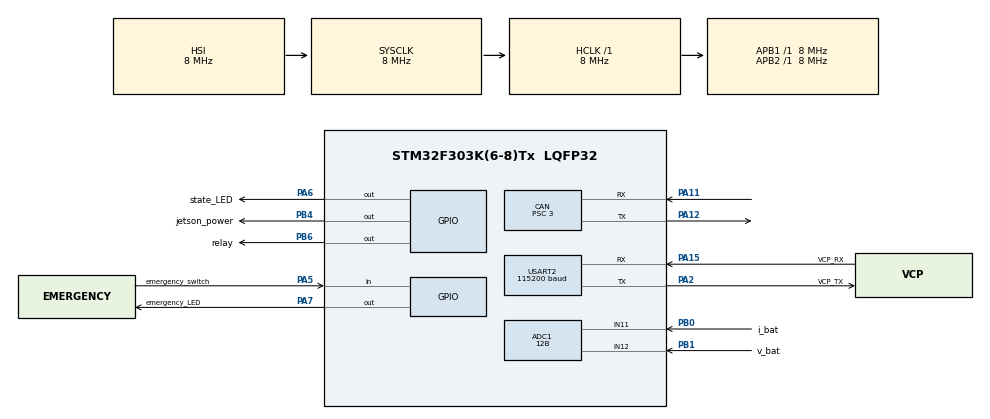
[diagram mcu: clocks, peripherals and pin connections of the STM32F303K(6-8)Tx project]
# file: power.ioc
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ADC1.Channel-1\#ChannelRegularConversion=ADC_CHANNEL_11
ADC1.Channel-2\#ChannelRegularConversion=ADC_CHANNEL_12
ADC1.ClockPrescaler=ADC_CLOCK_SYNC_PCLK_DIV4
ADC1.ContinuousConvMode=ENABLE
ADC1.DMAContinuousRequests=ENABLE
ADC1.EnableInjectedConversion=DISABLE
ADC1.NbrOfConversion=2
ADC1.NbrOfConversionFlag=1
ADC1.Offset-1\#ChannelRegularConversion=0
ADC1.Offset-2\#ChannelRegularConversion=0
ADC1.OffsetNumber-1\#ChannelRegularConversion=ADC_OFFSET_NONE
ADC1.OffsetNumber-2\#ChannelRegularConversion=ADC_OFFSET_NONE
ADC1.Rank-1\#ChannelRegularConversion=1
ADC1.Rank-2\#ChannelRegularConversion=2
ADC1.Resolution=ADC_RESOLUTION_12B
ADC1.SamplingTime-1\#ChannelRegularConversion=ADC_SAMPLETIME_601CYCLES_5
ADC1.SamplingTime-2\#ChannelRegularConversion=ADC_SAMPLETIME_601CYCLES_5
ADC1.SamplingTimeOPAMP-2\#ChannelRegularConversion=ADC_SAMPLETIME_1CYCLE_5
ADC1.SubFamily=STM32F303x8
ADC1.master=1
CAN.BS1=CAN_BS1_15TQ
CAN.BS2=CAN_BS2_4TQ
CAN.CalculateBaudRate=133333
CAN.CalculateTimeBit=7500
CAN.CalculateTimeQuantum=375.0
CAN.Prescaler=3
Dma.ADC1.0.Direction=DMA_PERIPH_TO_MEMORY
Dma.ADC1.0.Instance=DMA1_Channel1
Dma.ADC1.0.MemDataAlignment=DMA_MDATAALIGN_HALFWORD
Dma.ADC1.0.MemInc=DMA_MINC_ENABLE
Dma.ADC1.0.Mode=DMA_CIRCULAR
Dma.ADC1.0.PeriphDataAlignment=DMA_PDATAALIGN_HALFWORD
Dma.ADC1.0.PeriphInc=DMA_PINC_DISABLE
Dma.ADC1.0.Priority=DMA_PRIORITY_LOW
Dma.Request0=ADC1
Mcu.Family=STM32F3
Mcu.Name=STM32F303K(6-8)Tx
Mcu.Package=LQFP32
NVIC.CAN_RX0_IRQn=true\:0\:0\:false\:false\:true\:true\:true\:true
NVIC.DMA1_Channel1_IRQn=true\:0\:0\:false\:false\:true\:false\:true\:true
NVIC.PriorityGroup=NVIC_PRIORITYGROUP_4
NVIC.TIM6_DAC1_IRQn=true\:0\:0\:false\:false\:true\:true\:true\:true
NVIC.TIM7_DAC2_IRQn=true\:0\:0\:false\:false\:true\:true\:true\:true
PA11.Mode=CAN_Activate
PA11.Signal=CAN_RX
PA12.Mode=CAN_Activate
PA12.Signal=CAN_TX
PA13.GPIO_Label=SWDIO
PA13.Mode=Serial_Wire
PA13.Signal=SYS_JTMS-SWDIO
PA14.GPIO_Label=SWCLK
PA14.Mode=Serial_Wire
PA14.Signal=SYS_JTCK-SWCLK
PA15.GPIO_Label=VCP_RX
PA15.Mode=Asynchronous
PA15.Signal=USART2_RX
PA2.GPIO_Label=VCP_TX
PA2.Mode=Asynchronous
PA2.Signal=USART2_TX
PA5.GPIO_Label=emergency_switch
PA5.GPIO_PuPd=GPIO_NOPULL
PA5.Signal=GPIO_Input
PA6.GPIO_Label=state_LED
PA6.Signal=GPIO_Output
PA7.GPIO_Label=emergency_LED
PA7.Signal=GPIO_Output
PB0.GPIO_Label=i_bat
PB0.Mode=IN11-Single-Ended
PB0.Signal=ADC1_IN11
PB1.GPIO_Label=v_bat
PB1.Mode=IN12-Single-Ended
PB1.Signal=ADC1_IN12
PB4.GPIO_Label=jetson_power
PB4.Signal=GPIO_Output
PB6.GPIO_Label=relay
PB6.Signal=GPIO_Output
PF0\ /\ OSC_IN.GPIO_Label=MCO
PF0\ /\ OSC_IN.Mode=HSE-External-Clock-Source
PF0\ /\ OSC_IN.Signal=RCC_OSC_IN
ProjectManager.HeapSize=0x200
ProjectManager.StackSize=0x400
ProjectManager.TargetToolchain=STM32CubeIDE
RCC.AHBFreq_Value=8000000
RCC.APB1Freq_Value=8000000
RCC.APB2Freq_Value=8000000
RCC.CortexFreq_Value=8000000
RCC.HSE_VALUE=8000000
RCC.HSI_VALUE=8000000
RCC.PLLMUL=RCC_PLL_MUL4
RCC.SYSCLKFreq_VALUE=8000000
TIM6.Period=7999
TIM6.Prescaler=19
TIM7.Period=7999
TIM7.Prescaler=19
USART2.BaudRate=115200
USART2.VirtualMode-Asynchronous=VM_ASYNC
VP_TIM6_VS_ClockSourceINT.Mode=Enable_Timer
VP_TIM7_VS_ClockSourceINT.Mode=Enable_Timer
board=NUCLEO-F303K8

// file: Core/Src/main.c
/* USER CODE BEGIN Header */
/**
  ******************************************************************************
  * @file           : main.c
  * @brief          : Main program body
  ******************************************************************************
  * @attention
  *
  * Copyright (c) 2024 STMicroelectronics.
  * All rights reserved.
  *
  * This software is licensed under terms that can be found in the LICENSE file
  * in the root directory of this software component.
  * If no LICENSE file comes with this software, it is provided AS-IS.
  *
  ******************************************************************************
  */
/* USER CODE END Header */
#include "main.h"

/* USER CODE BEGIN Includes */
#include <stdbool.h>
#include <can.h>
#include <stdio.h>
/* USER CODE END Includes */

ADC_HandleTypeDef hadc1;
DMA_HandleTypeDef hdma_adc1;

CAN_HandleTypeDef hcan;

TIM_HandleTypeDef htim6;
TIM_HandleTypeDef htim7;

UART_HandleTypeDef huart2;

void SystemClock_Config(void);
static void MX_GPIO_Init(void);
static void MX_DMA_Init(void);
static void MX_USART2_UART_Init(void);
static void MX_ADC1_Init(void);
static void MX_CAN_Init(void);
static void MX_TIM6_Init(void);
static void MX_TIM7_Init(void);

/* USER CODE BEGIN 0 */

enum state{
	state_wait, // CAN通信待ち、ADC、CAN送信のみ実行
	state_active, //通常状態
	state_shutdown //5V電源OFF状態、非常停止ON->OFFで解除
};

typedef struct{
	bool battery;
	bool emergency;
}Error;

bool isNoError(Error e){
	return (e.battery==false) && (e.emergency==false);
}

bool errorReleaseRequest(bool sw){
	static bool last_sw = false;
	bool request;
	request = (last_sw == true) && (sw == false);
	last_sw = sw;
	return request;
}

bool g_main_loop_flag = false;

bool batteryErrorCheck(uint16_t,uint16_t);

void HAL_TIM_PeriodElapsedCallback(TIM_HandleTypeDef *htim)
{
	if(htim == &htim6)
	{
		//mainloop
		if(g_main_loop_flag){
			printf("Control cycle is slow\r\n");
		}
		else{
			g_main_loop_flag = true;
		}
	}
	if(htim == &htim7){
		sendCanData();
	}

}

// バッテリーの電流、電圧、非常停止スイッチの状態を確認する　異常があればtrueを返す
bool batteryErrorCheck(uint16_t i_bat,uint16_t v_bat){
	static const uint16_t i_bat_th = 1000;
	static const uint16_t v_bat_high_th = 16.0f/0.0039f;
	static const uint16_t v_bat_low_th = 8.0f/0.0039f;
	static size_t nv;
	static size_t ni;
	if((v_bat > v_bat_high_th) || (v_bat < v_bat_low_th)) nv++;
	else nv=0;
	if(i_bat > i_bat_th)ni++;
	else ni=0;
	bool error = (nv > 10)	|| (ni > 2);
	if (nv > 10) printf("Vbat error \r\n");
	if (ni > 2) printf("Ibat error \r\n");
	return error;
}

/* USER CODE END 0 */

int main(void)
{

  /* USER CODE BEGIN 1 */
	setbuf(stdout, NULL);
  /* USER CODE END 1 */

  /* MCU Configuration--------------------------------------------------------*/

  /* Reset of all peripherals, Initializes the Flash interface and the Systick. */
  HAL_Init();

  /* Configure the system clock */
  SystemClock_Config();

  /* Initialize all configured peripherals */
  MX_GPIO_Init();
  MX_DMA_Init();
  MX_USART2_UART_Init();
  MX_ADC1_Init();
  MX_CAN_Init();
  MX_TIM6_Init();
  MX_TIM7_Init();
  /* USER CODE BEGIN 2 */
  enum state state = state_wait;
  Error error = {0};

  //GPIO初期設定
  HAL_GPIO_WritePin(relay_GPIO_Port, relay_Pin, false);
  HAL_GPIO_WritePin(jetson_power_GPIO_Port, jetson_power_Pin, false);

  //ADCスタート
  static uint16_t ADC_buff[2];
  HAL_ADCEx_Calibration_Start(&hadc1, ADC_SINGLE_ENDED);
  HAL_ADC_Start_DMA(&hadc1, (uint32_t *)ADC_buff, sizeof(ADC_buff) / sizeof(ADC_buff[0]));
  hdma_adc1.Instance->CCR &= ~(DMA_IT_TC | DMA_IT_HT);
  HAL_Delay(100);

  //エラーチェック後５Vオン&CANスタート
//	while (batteryErrorCheck(ADC_buff[0], ADC_buff[1]) == true
//			|| HAL_GPIO_ReadPin(emergency_switch_GPIO_Port,emergency_switch_Pin)) {
//		printf("start error! Ibat:%d,Vbat%d,SW,%d\r\n",ADC_buff[0], ADC_buff[1],HAL_GPIO_ReadPin(emergency_switch_GPIO_Port,emergency_switch_Pin));
//		HAL_Delay(1000);
//	}
  HAL_GPIO_WritePin(jetson_power_GPIO_Port, jetson_power_Pin, true);
  HAL_Delay(100);

  //CANスタート
  canInit(&hcan);
  size_t can_timeout_cnt = 0;
  // relayをONにしてからMDに電源が入るまでの猶予
  size_t motor_delay_cnt = 0;
  // エラー解除待機中
  bool wait_flag=false;

  //timerスタート
  HAL_TIM_Base_Start_IT(&htim6);
  HAL_TIM_Base_Start_IT(&htim7);

  /* USER CODE END 2 */

  /* Infinite loop */
  /* USER CODE BEGIN WHILE */

  while (1)
  {
		//mainloop wait
		while(g_main_loop_flag == false){}

		error.battery = batteryErrorCheck(ADC_buff[0], ADC_buff[1]);
		error.emergency = HAL_GPIO_ReadPin(emergency_switch_GPIO_Port,emergency_switch_Pin);

		//ADCデータ確認
		PowerResult result;
		result.i_bat = ADC_buff[0]>>4;
		result.v_bat = ADC_buff[1]>>4;
		result.emergency = error.emergency;
		result.motor_output = (motor_delay_cnt > 10);

		//CAN送信
		setCanData(&result);

		switch(state){
		case state_shutdown:
			static bool prev_emerg_sw = false;
			HAL_GPIO_WritePin(relay_GPIO_Port, relay_Pin, false);
			HAL_GPIO_WritePin(jetson_power_GPIO_Port, jetson_power_Pin, false);
			if(prev_emerg_sw == true && error.emergency == false){
				state = state_wait;
			}
			prev_emerg_sw = error.emergency;
			break;
		case state_wait:
			HAL_GPIO_WritePin(relay_GPIO_Port, relay_Pin, false);
			HAL_GPIO_WritePin(jetson_power_GPIO_Port, jetson_power_Pin, true);
			if(isCanUpdated()){
				can_timeout_cnt = 0;
				state = state_active;
			}
			printf("can reinit\r\n");
			canInit(&hcan);
			break;
		case state_active:
			if(error.battery==true){
				wait_flag = true;
			}
			//CANデータ確認
			CanCommand command;
			if(isCanUpdated()==false) can_timeout_cnt++;
			else can_timeout_cnt=0;
			getCanData(&command);
			// state set
			if (command.power_off == true && command.motor_output == false) {
				state = state_shutdown;
			} else if (can_timeout_cnt > 5) {
				state = state_wait;
			}

			HAL_GPIO_WritePin(jetson_power_GPIO_Port, jetson_power_Pin, true);
			if (isNoError(error) == true && command.motor_output == true
					&& wait_flag == false) {
				//printf("motor_on : \r\n");
				HAL_GPIO_WritePin(relay_GPIO_Port, relay_Pin, true);
				motor_delay_cnt++;
			} else {
				//printf("motor_off : \r\n");
				HAL_GPIO_WritePin(relay_GPIO_Port, relay_Pin, false);
				motor_delay_cnt = 0;
			}
			break;
		}

		printf("%d,%d,%d\r\n",state,ADC_buff[0],ADC_buff[1]);

		if(wait_flag==true && errorReleaseRequest(error.emergency))wait_flag = false;
    g_main_loop_flag = false;
    /* USER CODE END WHILE */

  }
}

void SystemClock_Config(void)
{
  RCC_OscInitTypeDef RCC_OscInitStruct = {0};
  RCC_ClkInitTypeDef RCC_ClkInitStruct = {0};

  /** Initializes the RCC Oscillators according to the specified parameters
  * in the RCC_OscInitTypeDef structure.
  */
  RCC_OscInitStruct.OscillatorType = RCC_OSCILLATORTYPE_HSI;
  RCC_OscInitStruct.HSIState = RCC_HSI_ON;
  RCC_OscInitStruct.HSICalibrationValue = RCC_HSICALIBRATION_DEFAULT;
  RCC_OscInitStruct.PLL.PLLState = RCC_PLL_NONE;
  if (HAL_RCC_OscConfig(&RCC_OscInitStruct) != HAL_OK)
  {
    Error_Handler();
  }

  /** Initializes the CPU, AHB and APB buses clocks
  */
  RCC_ClkInitStruct.ClockType = RCC_CLOCKTYPE_HCLK|RCC_CLOCKTYPE_SYSCLK
                              |RCC_CLOCKTYPE_PCLK1|RCC_CLOCKTYPE_PCLK2;
  RCC_ClkInitStruct.SYSCLKSource = RCC_SYSCLKSOURCE_HSI;
  RCC_ClkInitStruct.AHBCLKDivider = RCC_SYSCLK_DIV1;
  RCC_ClkInitStruct.APB1CLKDivider = RCC_HCLK_DIV1;
  RCC_ClkInitStruct.APB2CLKDivider = RCC_HCLK_DIV1;

  if (HAL_RCC_ClockConfig(&RCC_ClkInitStruct, FLASH_LATENCY_0) != HAL_OK)
  {
    Error_Handler();
  }
}

static void MX_ADC1_Init(void)
{

  ADC_MultiModeTypeDef multimode = {0};
  ADC_ChannelConfTypeDef sConfig = {0};

  /** Common config
  */
  hadc1.Instance = ADC1;
  hadc1.Init.ClockPrescaler = ADC_CLOCK_SYNC_PCLK_DIV4;
  hadc1.Init.Resolution = ADC_RESOLUTION_12B;
  hadc1.Init.ScanConvMode = ADC_SCAN_ENABLE;
  hadc1.Init.ContinuousConvMode = ENABLE;
  hadc1.Init.DiscontinuousConvMode = DISABLE;
  hadc1.Init.ExternalTrigConvEdge = ADC_EXTERNALTRIGCONVEDGE_NONE;
  hadc1.Init.ExternalTrigConv = ADC_SOFTWARE_START;
  hadc1.Init.DataAlign = ADC_DATAALIGN_RIGHT;
  hadc1.Init.NbrOfConversion = 2;
  hadc1.Init.DMAContinuousRequests = ENABLE;
  hadc1.Init.EOCSelection = ADC_EOC_SINGLE_CONV;
  hadc1.Init.LowPowerAutoWait = DISABLE;
  hadc1.Init.Overrun = ADC_OVR_DATA_OVERWRITTEN;
  if (HAL_ADC_Init(&hadc1) != HAL_OK)
  {
    Error_Handler();
  }

  /** Configure the ADC multi-mode
  */
  multimode.Mode = ADC_MODE_INDEPENDENT;
  if (HAL_ADCEx_MultiModeConfigChannel(&hadc1, &multimode) != HAL_OK)
  {
    Error_Handler();
  }

  /** Configure Regular Channel
  */
  sConfig.Channel = ADC_CHANNEL_11;
  sConfig.Rank = ADC_REGULAR_RANK_1;
  sConfig.SingleDiff = ADC_SINGLE_ENDED;
  sConfig.SamplingTime = ADC_SAMPLETIME_601CYCLES_5;
  sConfig.OffsetNumber = ADC_OFFSET_NONE;
  sConfig.Offset = 0;
  if (HAL_ADC_ConfigChannel(&hadc1, &sConfig) != HAL_OK)
  {
    Error_Handler();
  }

  /** Configure Regular Channel
  */
  sConfig.Channel = ADC_CHANNEL_12;
  sConfig.Rank = ADC_REGULAR_RANK_2;
  if (HAL_ADC_ConfigChannel(&hadc1, &sConfig) != HAL_OK)
  {
    Error_Handler();
  }

}

static void MX_CAN_Init(void)
{

  hcan.Instance = CAN;
  hcan.Init.Prescaler = 3;
  hcan.Init.Mode = CAN_MODE_NORMAL;
  hcan.Init.SyncJumpWidth = CAN_SJW_1TQ;
  hcan.Init.TimeSeg1 = CAN_BS1_15TQ;
  hcan.Init.TimeSeg2 = CAN_BS2_4TQ;
  hcan.Init.TimeTriggeredMode = DISABLE;
  hcan.Init.AutoBusOff = DISABLE;
  hcan.Init.AutoWakeUp = DISABLE;
  hcan.Init.AutoRetransmission = DISABLE;
  hcan.Init.ReceiveFifoLocked = DISABLE;
  hcan.Init.TransmitFifoPriority = DISABLE;
  if (HAL_CAN_Init(&hcan) != HAL_OK)
  {
    Error_Handler();
  }

}

static void MX_TIM6_Init(void)
{

  TIM_MasterConfigTypeDef sMasterConfig = {0};

  htim6.Instance = TIM6;
  htim6.Init.Prescaler = 19;
  htim6.Init.CounterMode = TIM_COUNTERMODE_UP;
  htim6.Init.Period = 7999;
  htim6.Init.AutoReloadPreload = TIM_AUTORELOAD_PRELOAD_DISABLE;
  if (HAL_TIM_Base_Init(&htim6) != HAL_OK)
  {
    Error_Handler();
  }
  sMasterConfig.MasterOutputTrigger = TIM_TRGO_RESET;
  sMasterConfig.MasterSlaveMode = TIM_MASTERSLAVEMODE_DISABLE;
  if (HAL_TIMEx_MasterConfigSynchronization(&htim6, &sMasterConfig) != HAL_OK)
  {
    Error_Handler();
  }

}

static void MX_TIM7_Init(void)
{

  TIM_MasterConfigTypeDef sMasterConfig = {0};

  htim7.Instance = TIM7;
  htim7.Init.Prescaler = 19;
  htim7.Init.CounterMode = TIM_COUNTERMODE_UP;
  htim7.Init.Period = 7999;
  htim7.Init.AutoReloadPreload = TIM_AUTORELOAD_PRELOAD_DISABLE;
  if (HAL_TIM_Base_Init(&htim7) != HAL_OK)
  {
    Error_Handler();
  }
  sMasterConfig.MasterOutputTrigger = TIM_TRGO_RESET;
  sMasterConfig.MasterSlaveMode = TIM_MASTERSLAVEMODE_DISABLE;
  if (HAL_TIMEx_MasterConfigSynchronization(&htim7, &sMasterConfig) != HAL_OK)
  {
    Error_Handler();
  }

}

static void MX_USART2_UART_Init(void)
{

  huart2.Instance = USART2;
  huart2.Init.BaudRate = 115200;
  huart2.Init.WordLength = UART_WORDLENGTH_8B;
  huart2.Init.StopBits = UART_STOPBITS_1;
  huart2.Init.Parity = UART_PARITY_NONE;
  huart2.Init.Mode = UART_MODE_TX_RX;
  huart2.Init.HwFlowCtl = UART_HWCONTROL_NONE;
  huart2.Init.OverSampling = UART_OVERSAMPLING_16;
  huart2.Init.OneBitSampling = UART_ONE_BIT_SAMPLE_DISABLE;
  huart2.AdvancedInit.AdvFeatureInit = UART_ADVFEATURE_NO_INIT;
  if (HAL_UART_Init(&huart2) != HAL_OK)
  {
    Error_Handler();
  }

}

static void MX_DMA_Init(void)
{

  /* DMA controller clock enable */
  __HAL_RCC_DMA1_CLK_ENABLE();

  /* DMA interrupt init */
  /* DMA1_Channel1_IRQn interrupt configuration */
  HAL_NVIC_SetPriority(DMA1_Channel1_IRQn, 0, 0);
  HAL_NVIC_EnableIRQ(DMA1_Channel1_IRQn);

}

static void MX_GPIO_Init(void)
{
  GPIO_InitTypeDef GPIO_InitStruct = {0};

  /* GPIO Ports Clock Enable */
  __HAL_RCC_GPIOF_CLK_ENABLE();
  __HAL_RCC_GPIOA_CLK_ENABLE();
  __HAL_RCC_GPIOB_CLK_ENABLE();

  /*Configure GPIO pin Output Level */
  HAL_GPIO_WritePin(GPIOA, state_LED_Pin|emergency_LED_Pin, GPIO_PIN_RESET);

  /*Configure GPIO pin Output Level */
  HAL_GPIO_WritePin(GPIOB, jetson_power_Pin|relay_Pin, GPIO_PIN_RESET);

  /*Configure GPIO pin : emergency_switch_Pin */
  GPIO_InitStruct.Pin = emergency_switch_Pin;
  GPIO_InitStruct.Mode = GPIO_MODE_INPUT;
  GPIO_InitStruct.Pull = GPIO_NOPULL;
  HAL_GPIO_Init(emergency_switch_GPIO_Port, &GPIO_InitStruct);

  /*Configure GPIO pins : state_LED_Pin emergency_LED_Pin */
  GPIO_InitStruct.Pin = state_LED_Pin|emergency_LED_Pin;
  GPIO_InitStruct.Mode = GPIO_MODE_OUTPUT_PP;
  GPIO_InitStruct.Pull = GPIO_NOPULL;
  GPIO_InitStruct.Speed = GPIO_SPEED_FREQ_LOW;
  HAL_GPIO_Init(GPIOA, &GPIO_InitStruct);

  /*Configure GPIO pins : jetson_power_Pin relay_Pin */
  GPIO_InitStruct.Pin = jetson_power_Pin|relay_Pin;
  GPIO_InitStruct.Mode = GPIO_MODE_OUTPUT_PP;
  GPIO_InitStruct.Pull = GPIO_NOPULL;
  GPIO_InitStruct.Speed = GPIO_SPEED_FREQ_LOW;
  HAL_GPIO_Init(GPIOB, &GPIO_InitStruct);

}

/* USER CODE BEGIN 4 */
int _write(int file, char *ptr, int len)
{
  HAL_UART_Transmit(&huart2,(uint8_t *)ptr,len,10);
  return len;
}
/* USER CODE END 4 */

void Error_Handler(void)
{
  __disable_irq();
  while (1)
  {
  }
}
